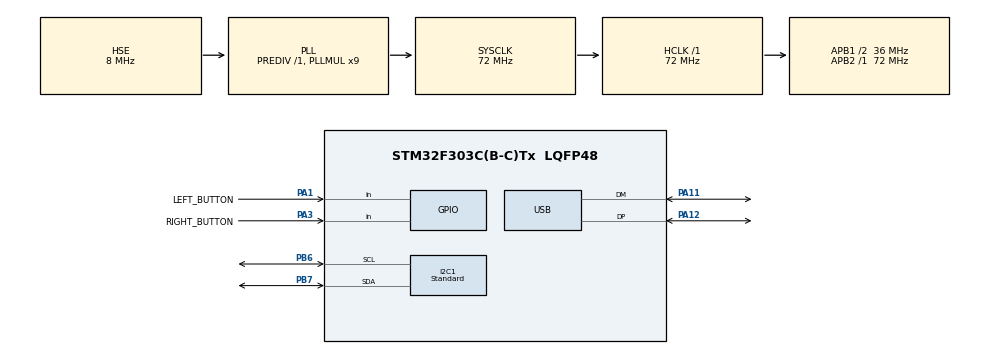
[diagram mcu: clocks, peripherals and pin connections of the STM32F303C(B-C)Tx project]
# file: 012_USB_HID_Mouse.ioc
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I2C1.I2C_Speed_Mode=I2C_Standard
Mcu.Family=STM32F3
Mcu.Name=STM32F303C(B-C)Tx
Mcu.Package=LQFP48
NVIC.PriorityGroup=NVIC_PRIORITYGROUP_4
NVIC.USB_LP_CAN_RX0_IRQn=true\:0\:0\:false\:false\:true\:false\:true\:true
PA1.GPIO_Label=LEFT_BUTTON
PA1.Signal=GPIO_Input
PA11.Mode=Device
PA11.Signal=USB_DM
PA12.Mode=Device
PA12.Signal=USB_DP
PA13.Mode=Serial_Wire
PA13.Signal=SYS_JTMS-SWDIO
PA14.Mode=Serial_Wire
PA14.Signal=SYS_JTCK-SWCLK
PA3.GPIO_Label=RIGHT_BUTTON
PA3.Signal=GPIO_Input
PB6.Mode=I2C
PB6.Signal=I2C1_SCL
PB7.Mode=I2C
PB7.Signal=I2C1_SDA
PF0-OSC_IN.Mode=HSE-External-Oscillator
PF0-OSC_IN.Signal=RCC_OSC_IN
PF1-OSC_OUT.Mode=HSE-External-Oscillator
PF1-OSC_OUT.Signal=RCC_OSC_OUT
ProjectManager.HeapSize=0x200
ProjectManager.StackSize=0x1000
ProjectManager.TargetToolchain=STM32CubeIDE
RCC.AHBFreq_Value=72000000
RCC.APB1CLKDivider=RCC_HCLK_DIV2
RCC.APB1Freq_Value=36000000
RCC.APB1TimFreq_Value=72000000
RCC.APB2Freq_Value=72000000
RCC.APB2TimFreq_Value=72000000
RCC.CortexFreq_Value=72000000
RCC.HCLKFreq_Value=72000000
RCC.HSE_VALUE=8000000
RCC.HSI_VALUE=8000000
RCC.LSE_VALUE=32768
RCC.PLLMUL=RCC_PLL_MUL9
RCC.PLLSourceVirtual=RCC_PLLSOURCE_HSE
RCC.PRESCALERUSB=RCC_USBCLKSOURCE_PLL_DIV1_5
RCC.SYSCLKFreq_VALUE=72000000
RCC.SYSCLKSourceVirtual=RCC_SYSCLKSOURCE_PLLCLK
RCC.USBFreq_Value=48000000
USB_DEVICE.CLASS_NAME_FS=HID
USB_DEVICE.VirtualMode=Hid
USB_DEVICE.VirtualModeFS=Hid_FS
VP_USB_DEVICE_VS_USB_DEVICE_HID_FS.Mode=HID_FS
board=custom

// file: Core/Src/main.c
/* USER CODE BEGIN Header */
/**
  ******************************************************************************
  * @file           : main.c
  * @brief          : Main program body
  ******************************************************************************
  * @attention
  *
  * Copyright (c) 2024 STMicroelectronics.
  * All rights reserved.
  *
  * This software is licensed under terms that can be found in the LICENSE file
  * in the root directory of this software component.
  * If no LICENSE file comes with this software, it is provided AS-IS.
  *
  ******************************************************************************
  */
/* USER CODE END Header */
#include "main.h"
#include "usb_device.h"
/* USER CODE BEGIN Includes */
#include "usbd_hid.h"
#include "usbd_def.h"
#ifdef IMU_MPU6050
#include "mpu6050.h"
#endif
#ifdef IMU_BMI270
#include "bmi270.h"
#endif
#include "mouse_handler.h"
#include <stdio.h>
/* USER CODE END Includes */

/* USER CODE BEGIN PD */
#define REPORT_DELAY_MS    2
#define GYRO_CALIB_SAMPLES   200 /* ~200 samples * 5 ms = ~1 s of stillness at boot */
#define GYRO_CALIB_DELAY_MS  5   /* independent of REPORT_DELAY_MS; only runs once */
/* USER CODE END PD */

I2C_HandleTypeDef hi2c1;

/* USER CODE BEGIN PV */
extern USBD_HandleTypeDef hUsbDeviceFS;
#ifdef IMU_MPU6050
MPU6050_t mpu6050_data;
#endif
#ifdef IMU_BMI270
BMI270_t bmi270_data;
#endif
mouseHID mouse_hid = {0, 0, 0, 0};
/* USER CODE END PV */

void SystemClock_Config(void);
static void MX_GPIO_Init(void);
static void MX_I2C1_Init(void);
/* USER CODE BEGIN PFP */
static void send_hid_report(mouseHID *mouse_hid);
/* USER CODE END PFP */

/* USER CODE BEGIN 0 */
/**
  * @brief  Send HID report.
  * @param  mouse_hid: Pointer to the mouse HID structure.
  * @retval None
  */
static void send_hid_report(mouseHID *mouse_hid)
{
  USBD_HID_SendReport(&hUsbDeviceFS, (uint8_t *)mouse_hid, sizeof(*mouse_hid));
}
/* USER CODE END 0 */

int main(void)
{

  /* USER CODE BEGIN 1 */
  double gyroz = 0.0;
  double gyroy = 0.0;
  uint8_t l_btn, r_btn, btn_pad_value;
  /* USER CODE END 1 */

  /* MCU Configuration--------------------------------------------------------*/

  /* Reset of all peripherals, Initializes the Flash interface and the Systick. */
  HAL_Init();

  /* Configure the system clock */
  SystemClock_Config();

  /* Initialize all configured peripherals */
  MX_GPIO_Init();
  MX_I2C1_Init();
  MX_USB_DEVICE_Init();
  /* USER CODE BEGIN 2 */
#ifdef IMU_MPU6050
  MPU6050_Init();
#endif
#ifdef IMU_BMI270
  bmi270_init();
#endif

  /* Gyro bias calibration: average raw samples while the board is held
   * still, so process_gyro_and_update_cursor() can subtract the sensor's
   * rest bias from every later reading. */
  {
    double sum_gz = 0.0, sum_gy = 0.0;
    for (int i = 0; i < GYRO_CALIB_SAMPLES; i++) {
#ifdef IMU_MPU6050
      MPU6050_Read_All(&mpu6050_data);
      sum_gz += mpu6050_data.Gz;
      sum_gy += mpu6050_data.Gy;
#endif
#ifdef IMU_BMI270
      bmi270_read_all(&bmi270_data);
      sum_gz += bmi270_data.Gz;
      sum_gy += bmi270_data.Gy;
#endif
      HAL_Delay(GYRO_CALIB_DELAY_MS);
    }
    gyro_calibrate_bias(sum_gz / GYRO_CALIB_SAMPLES, sum_gy / GYRO_CALIB_SAMPLES);
  }
  /* USER CODE END 2 */

  /* Infinite loop */
  while (1)
  {

    /* USER CODE BEGIN 3 */
#ifdef IMU_MPU6050
    MPU6050_Read_All(&mpu6050_data);
    gyroz = mpu6050_data.Gz;
    gyroy = mpu6050_data.Gy;
#endif
#ifdef IMU_BMI270
    bmi270_read_all(&bmi270_data);
    gyroz = bmi270_data.Gz;
    gyroy = bmi270_data.Gy;
#endif

    r_btn = read_btn_state(RIGHT_BUTTON_GPIO_Port, RIGHT_BUTTON_Pin);
    l_btn = read_btn_state(LEFT_BUTTON_GPIO_Port, LEFT_BUTTON_Pin);

    btn_pad_value = (r_btn << 1) | l_btn;

    /* software button de-bouncing */
    btn_pad_value = handle_mouse_button(btn_pad_value);

    update_btn_state(&mouse_hid, btn_pad_value);

    process_gyro_and_update_cursor(gyroz, gyroy, &mouse_hid);
    send_hid_report(&mouse_hid);

    HAL_Delay(REPORT_DELAY_MS);

  }
  /* USER CODE END 3 */
}

void SystemClock_Config(void)
{
  RCC_OscInitTypeDef RCC_OscInitStruct = {0};
  RCC_ClkInitTypeDef RCC_ClkInitStruct = {0};
  RCC_PeriphCLKInitTypeDef PeriphClkInit = {0};

  /** Initializes the RCC Oscillators according to the specified parameters
  * in the RCC_OscInitTypeDef structure.
  */
  RCC_OscInitStruct.OscillatorType = RCC_OSCILLATORTYPE_HSI|RCC_OSCILLATORTYPE_HSE;
  RCC_OscInitStruct.HSEState = RCC_HSE_ON;
  RCC_OscInitStruct.HSEPredivValue = RCC_HSE_PREDIV_DIV1;
  RCC_OscInitStruct.HSIState = RCC_HSI_ON;
  RCC_OscInitStruct.HSICalibrationValue = RCC_HSICALIBRATION_DEFAULT;
  RCC_OscInitStruct.PLL.PLLState = RCC_PLL_ON;
  RCC_OscInitStruct.PLL.PLLSource = RCC_PLLSOURCE_HSE;
  RCC_OscInitStruct.PLL.PLLMUL = RCC_PLL_MUL9;
  if (HAL_RCC_OscConfig(&RCC_OscInitStruct) != HAL_OK)
  {
    Error_Handler();
  }

  /** Initializes the CPU, AHB and APB buses clocks
  */
  RCC_ClkInitStruct.ClockType = RCC_CLOCKTYPE_HCLK|RCC_CLOCKTYPE_SYSCLK
                              |RCC_CLOCKTYPE_PCLK1|RCC_CLOCKTYPE_PCLK2;
  RCC_ClkInitStruct.SYSCLKSource = RCC_SYSCLKSOURCE_PLLCLK;
  RCC_ClkInitStruct.AHBCLKDivider = RCC_SYSCLK_DIV1;
  RCC_ClkInitStruct.APB1CLKDivider = RCC_HCLK_DIV2;
  RCC_ClkInitStruct.APB2CLKDivider = RCC_HCLK_DIV1;

  if (HAL_RCC_ClockConfig(&RCC_ClkInitStruct, FLASH_LATENCY_2) != HAL_OK)
  {
    Error_Handler();
  }
  PeriphClkInit.PeriphClockSelection = RCC_PERIPHCLK_USB|RCC_PERIPHCLK_I2C1;
  PeriphClkInit.I2c1ClockSelection = RCC_I2C1CLKSOURCE_HSI;
  PeriphClkInit.USBClockSelection = RCC_USBCLKSOURCE_PLL_DIV1_5;
  if (HAL_RCCEx_PeriphCLKConfig(&PeriphClkInit) != HAL_OK)
  {
    Error_Handler();
  }
}

static void MX_I2C1_Init(void)
{

  hi2c1.Instance = I2C1;
  hi2c1.Init.Timing = 0x2000090E;
  hi2c1.Init.OwnAddress1 = 0;
  hi2c1.Init.AddressingMode = I2C_ADDRESSINGMODE_7BIT;
  hi2c1.Init.DualAddressMode = I2C_DUALADDRESS_DISABLE;
  hi2c1.Init.OwnAddress2 = 0;
  hi2c1.Init.OwnAddress2Masks = I2C_OA2_NOMASK;
  hi2c1.Init.GeneralCallMode = I2C_GENERALCALL_DISABLE;
  hi2c1.Init.NoStretchMode = I2C_NOSTRETCH_DISABLE;
  if (HAL_I2C_Init(&hi2c1) != HAL_OK)
  {
    Error_Handler();
  }

  /** Configure Analogue filter
  */
  if (HAL_I2CEx_ConfigAnalogFilter(&hi2c1, I2C_ANALOGFILTER_ENABLE) != HAL_OK)
  {
    Error_Handler();
  }

  /** Configure Digital filter
  */
  if (HAL_I2CEx_ConfigDigitalFilter(&hi2c1, 0) != HAL_OK)
  {
    Error_Handler();
  }

}

static void MX_GPIO_Init(void)
{
  GPIO_InitTypeDef GPIO_InitStruct = {0};

  /* GPIO Ports Clock Enable */
  __HAL_RCC_GPIOF_CLK_ENABLE();
  __HAL_RCC_GPIOA_CLK_ENABLE();
  __HAL_RCC_GPIOB_CLK_ENABLE();

  /*Configure GPIO pins : LEFT_BUTTON_Pin RIGHT_BUTTON_Pin */
  GPIO_InitStruct.Pin = LEFT_BUTTON_Pin|RIGHT_BUTTON_Pin;
  GPIO_InitStruct.Mode = GPIO_MODE_INPUT;
  GPIO_InitStruct.Pull = GPIO_NOPULL;
  HAL_GPIO_Init(GPIOA, &GPIO_InitStruct);

}

void Error_Handler(void)
{
  __disable_irq();
  while (1)
  {
  }
}
